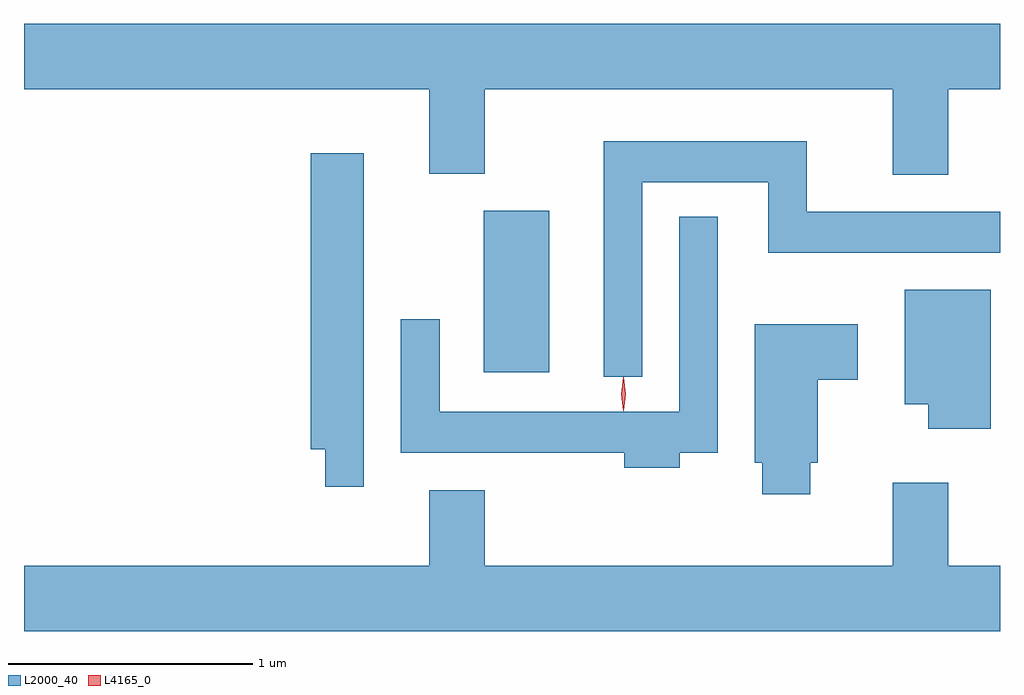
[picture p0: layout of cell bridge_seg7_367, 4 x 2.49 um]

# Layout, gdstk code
import gdstk
lib = gdstk.Library(unit=1e-6, precision=1e-09)
def R(c, l, rs):  # rectangles x0, y0, x1, y1
    for r in rs: c.add(gdstk.rectangle(r[:2], r[2:], *l))
def P(c, l, *ps):  # polygons
    for p in ps: c.add(gdstk.Polygon(p, *l))
L2000_40 = (2000, 40)
L4165_0 = (4165, 0)

bridge_seg7_367 = lib.new_cell('bridge_seg7_367')
R(bridge_seg7_367, L2000_40, [(1091.426,1748.676,1091.694,1749.339)])
P(bridge_seg7_367, L2000_40, [(1093.329,1749.836),(1093.541,1749.836),(1093.541,1750.104),(1089.541,1750.104),(1089.541,1749.836),(1091.201,1749.836),(1091.201,1749.491),(1091.429,1749.491),(1091.429,1749.836),(1093.101,1749.836),(1093.101,1749.486),(1093.329,1749.486)],
  [(1092.074,1749.456),(1092.591,1749.456),(1092.591,1749.166),(1093.541,1749.166),(1093.541,1749.334),(1092.749,1749.334),(1092.749,1749.624),(1091.916,1749.624),(1091.916,1748.658),(1092.074,1748.658)],
  [(1090.934,1749.574),(1090.716,1749.574),(1090.716,1748.361),(1090.776,1748.361),(1090.776,1748.208),(1090.934,1748.208)],
  [(1092.229,1748.346),(1092.384,1748.346),(1092.384,1749.313),(1092.226,1749.313),(1092.226,1748.514),(1091.244,1748.514),(1091.244,1748.893),(1091.086,1748.893),(1091.086,1748.346),(1092.001,1748.346),(1092.001,1748.286),(1092.229,1748.286)],
  [(1093.504,1749.014),(1093.151,1749.014),(1093.151,1748.546),(1093.246,1748.546),(1093.246,1748.446),(1093.504,1748.446)],
  [(1092.764,1748.306),(1092.794,1748.306),(1092.794,1748.646),(1092.959,1748.646),(1092.959,1748.874),(1092.536,1748.874),(1092.536,1748.306),(1092.566,1748.306),(1092.566,1748.176),(1092.764,1748.176)],
  [(1093.541,1747.884),(1093.329,1747.884),(1093.329,1748.224),(1093.101,1748.224),(1093.101,1747.884),(1091.429,1747.884),(1091.429,1748.194),(1091.201,1748.194),(1091.201,1747.884),(1089.541,1747.884),(1089.541,1747.616),(1093.541,1747.616)])
P(bridge_seg7_367, L4165_0, [(1091.998,1748.517),(1091.997,1748.518),(1091.988,1748.587),(1091.997,1748.656),(1091.997,1748.656),(1091.998,1748.656),(1092.008,1748.587),(1091.998,1748.518)])

lib.write_gds('bridge_seg7_367.gds')
